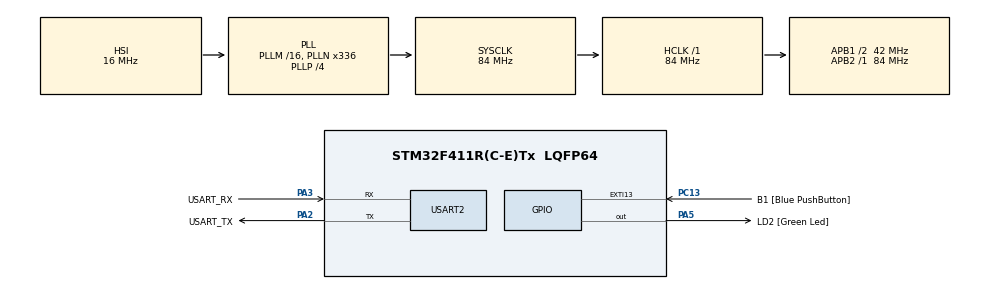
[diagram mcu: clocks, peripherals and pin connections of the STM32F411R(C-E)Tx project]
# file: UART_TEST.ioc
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Dma.Request0=USART2_RX
Dma.Request1=USART2_TX
Dma.USART2_RX.0.Direction=DMA_PERIPH_TO_MEMORY
Dma.USART2_RX.0.FIFOMode=DMA_FIFOMODE_DISABLE
Dma.USART2_RX.0.Instance=DMA1_Stream5
Dma.USART2_RX.0.MemDataAlignment=DMA_MDATAALIGN_BYTE
Dma.USART2_RX.0.MemInc=DMA_MINC_ENABLE
Dma.USART2_RX.0.Mode=DMA_CIRCULAR
Dma.USART2_RX.0.PeriphDataAlignment=DMA_PDATAALIGN_BYTE
Dma.USART2_RX.0.PeriphInc=DMA_PINC_DISABLE
Dma.USART2_RX.0.Priority=DMA_PRIORITY_LOW
Dma.USART2_TX.1.Direction=DMA_MEMORY_TO_PERIPH
Dma.USART2_TX.1.FIFOMode=DMA_FIFOMODE_DISABLE
Dma.USART2_TX.1.Instance=DMA1_Stream6
Dma.USART2_TX.1.MemDataAlignment=DMA_MDATAALIGN_BYTE
Dma.USART2_TX.1.MemInc=DMA_MINC_ENABLE
Dma.USART2_TX.1.Mode=DMA_NORMAL
Dma.USART2_TX.1.PeriphDataAlignment=DMA_PDATAALIGN_BYTE
Dma.USART2_TX.1.PeriphInc=DMA_PINC_DISABLE
Dma.USART2_TX.1.Priority=DMA_PRIORITY_LOW
Mcu.Family=STM32F4
Mcu.Name=STM32F411R(C-E)Tx
Mcu.Package=LQFP64
NVIC.DMA1_Stream5_IRQn=true\:0\:0\:false\:false\:true\:false\:true
NVIC.DMA1_Stream6_IRQn=true\:0\:0\:false\:false\:true\:false\:true
NVIC.PriorityGroup=NVIC_PRIORITYGROUP_0
NVIC.USART2_IRQn=true\:0\:0\:false\:false\:true\:true\:true
PA13.GPIO_Label=TMS
PA13.Mode=Serial_Wire
PA13.Signal=SYS_JTMS-SWDIO
PA14.GPIO_Label=TCK
PA14.Mode=Serial_Wire
PA14.Signal=SYS_JTCK-SWCLK
PA2.GPIO_Label=USART_TX
PA2.Mode=Asynchronous
PA2.Signal=USART2_TX
PA3.GPIO_Label=USART_RX
PA3.Mode=Asynchronous
PA3.Signal=USART2_RX
PA5.GPIO_Label=LD2 [Green Led]
PA5.Signal=GPIO_Output
PB3.GPIO_Label=SWO
PB3.Signal=SYS_JTDO-SWO
PC13-ANTI_TAMP.GPIO_Label=B1 [Blue PushButton]
PC13-ANTI_TAMP.GPIO_ModeDefaultEXTI=GPIO_MODE_IT_FALLING
PC13-ANTI_TAMP.Signal=GPXTI13
PC14-OSC32_IN.Mode=LSE-External-Oscillator
PC14-OSC32_IN.Signal=RCC_OSC32_IN
PC15-OSC32_OUT.Mode=LSE-External-Oscillator
PC15-OSC32_OUT.Signal=RCC_OSC32_OUT
PH0\ -\ OSC_IN.Mode=HSE-External-Clock-Source
PH0\ -\ OSC_IN.Signal=RCC_OSC_IN
PH1\ -\ OSC_OUT.Mode=HSE-External-Clock-Source
PH1\ -\ OSC_OUT.Signal=RCC_OSC_OUT
ProjectManager.HeapSize=0x200
ProjectManager.StackSize=0x400
ProjectManager.TargetToolchain=STM32CubeIDE
RCC.48MHZClocksFreq_Value=84000000
RCC.AHBFreq_Value=84000000
RCC.APB1CLKDivider=RCC_HCLK_DIV2
RCC.APB1Freq_Value=42000000
RCC.APB1TimFreq_Value=84000000
RCC.APB2Freq_Value=84000000
RCC.APB2TimFreq_Value=84000000
RCC.CortexFreq_Value=84000000
RCC.FLatency-AdvancedSettings=FLASH_LATENCY_2
RCC.HCLKFreq_Value=84000000
RCC.HSE_VALUE=8000000
RCC.HSI_VALUE=16000000
RCC.PLLN=336
RCC.PLLP=RCC_PLLP_DIV4
RCC.SYSCLKFreq_VALUE=84000000
RCC.SYSCLKSource=RCC_SYSCLKSOURCE_PLLCLK
RCC.VCOOutputFreq_Value=336000000
USART2.VirtualMode=VM_ASYNC
board=NUCLEO-F411RE

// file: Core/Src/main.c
/* USER CODE BEGIN Header */
/**
  ******************************************************************************
  * @file           : main.c
  * @brief          : Main program body
  ******************************************************************************
  * @attention
  *
  * <h2><center>&copy; Copyright (c) 2021 STMicroelectronics.
  * All rights reserved.</center></h2>
  *
  * This software component is licensed by ST under BSD 3-Clause license,
  * the "License"; You may not use this file except in compliance with the
  * License. You may obtain a copy of the License at:
  *                        opensource.org/licenses/BSD-3-Clause
  *
  ******************************************************************************
  */
/* USER CODE END Header */
#include "main.h"

/* USER CODE BEGIN Includes */
#include "stdio.h"
#include <stdlib.h>
#include "string.h"

/* USER CODE END Includes */

/* USER CODE BEGIN PD */

#define MAX_PACKET_LEN 255

/* USER CODE END PD */

UART_HandleTypeDef huart2;
DMA_HandleTypeDef hdma_usart2_rx;
DMA_HandleTypeDef hdma_usart2_tx;

/* USER CODE BEGIN PV */

typedef struct _UartStructure
{
	UART_HandleTypeDef *huart;
	uint16_t TxLen, RxLen;
	uint8_t *TxBuffer;
	uint16_t TxTail, TxHead;
	uint8_t *RxBuffer;
	uint16_t RxTail; //RXHeadUseDMA

} UARTStucrture;

UARTStucrture UART2 =
{ 0 };

typedef enum{
	state_idle,
	state_start,
	state_mode,
	state_n_station,
	state_data_frame,
	state_check_sum,
	state_wait_for_ack1_1,
	state_wait_for_ack1_2
}uart_state;

int inputchar = -1;

/* USER CODE END PV */

void SystemClock_Config(void);
static void MX_GPIO_Init(void);
static void MX_DMA_Init(void);
static void MX_USART2_UART_Init(void);
/* USER CODE BEGIN PFP */

void UARTInit(UARTStucrture *uart);

void UARTResetStart(UARTStucrture *uart);

uint32_t UARTGetRxHead(UARTStucrture *uart);

int16_t UARTReadChar(UARTStucrture *uart);

void UARTTxDumpBuffer(UARTStucrture *uart);

void UARTTxWrite(UARTStucrture *uart, uint8_t *pData, uint16_t len);

void uart_protocal(int16_t input,UARTStucrture *uart);

/* USER CODE END PFP */

int main(void)
{

  /* MCU Configuration--------------------------------------------------------*/

  /* Reset of all peripherals, Initializes the Flash interface and the Systick. */
  HAL_Init();

  /* Configure the system clock */
  SystemClock_Config();

  /* Initialize all configured peripherals */
  MX_GPIO_Init();
  MX_DMA_Init();
  MX_USART2_UART_Init();
  /* USER CODE BEGIN 2 */

  UART2.huart = &huart2;
  UART2.RxLen = 255;
  UART2.TxLen = 255;
  UARTInit(&UART2);
  UARTResetStart(&UART2);

  /* USER CODE END 2 */
  {
	  char temp[32] = {"Hello\r\n"};
	  UARTTxWrite(&UART2, (uint8_t*) temp, strlen(temp));
  }

  /* Infinite loop */
  /* USER CODE BEGIN WHILE */
  while (1)
  {
	  int16_t inputChar = UARTReadChar(&UART2);
	  if(inputChar != -1){
		  /*char temp[32];
		  sprintf(temp, "%d", inputChar);
		  UARTTxWrite(&UART2, (uint8_t*) temp, strlen(temp));*/

		  uart_protocal(inputChar, &UART2);
	  }

    /* USER CODE END WHILE */

    /* USER CODE BEGIN 3 */

	  UARTTxDumpBuffer(&UART2);

  }
  /* USER CODE END 3 */
}

void SystemClock_Config(void)
{
  RCC_OscInitTypeDef RCC_OscInitStruct = {0};
  RCC_ClkInitTypeDef RCC_ClkInitStruct = {0};

  /** Configure the main internal regulator output voltage
  */
  __HAL_RCC_PWR_CLK_ENABLE();
  __HAL_PWR_VOLTAGESCALING_CONFIG(PWR_REGULATOR_VOLTAGE_SCALE1);
  /** Initializes the RCC Oscillators according to the specified parameters
  * in the RCC_OscInitTypeDef structure.
  */
  RCC_OscInitStruct.OscillatorType = RCC_OSCILLATORTYPE_HSI;
  RCC_OscInitStruct.HSIState = RCC_HSI_ON;
  RCC_OscInitStruct.HSICalibrationValue = RCC_HSICALIBRATION_DEFAULT;
  RCC_OscInitStruct.PLL.PLLState = RCC_PLL_ON;
  RCC_OscInitStruct.PLL.PLLSource = RCC_PLLSOURCE_HSI;
  RCC_OscInitStruct.PLL.PLLM = 16;
  RCC_OscInitStruct.PLL.PLLN = 336;
  RCC_OscInitStruct.PLL.PLLP = RCC_PLLP_DIV4;
  RCC_OscInitStruct.PLL.PLLQ = 4;
  if (HAL_RCC_OscConfig(&RCC_OscInitStruct) != HAL_OK)
  {
    Error_Handler();
  }
  /** Initializes the CPU, AHB and APB buses clocks
  */
  RCC_ClkInitStruct.ClockType = RCC_CLOCKTYPE_HCLK|RCC_CLOCKTYPE_SYSCLK
                              |RCC_CLOCKTYPE_PCLK1|RCC_CLOCKTYPE_PCLK2;
  RCC_ClkInitStruct.SYSCLKSource = RCC_SYSCLKSOURCE_PLLCLK;
  RCC_ClkInitStruct.AHBCLKDivider = RCC_SYSCLK_DIV1;
  RCC_ClkInitStruct.APB1CLKDivider = RCC_HCLK_DIV2;
  RCC_ClkInitStruct.APB2CLKDivider = RCC_HCLK_DIV1;

  if (HAL_RCC_ClockConfig(&RCC_ClkInitStruct, FLASH_LATENCY_2) != HAL_OK)
  {
    Error_Handler();
  }
}

static void MX_USART2_UART_Init(void)
{

  huart2.Instance = USART2;
  huart2.Init.BaudRate = 115200;
  huart2.Init.WordLength = UART_WORDLENGTH_8B;
  huart2.Init.StopBits = UART_STOPBITS_1;
  huart2.Init.Parity = UART_PARITY_NONE;
  huart2.Init.Mode = UART_MODE_TX_RX;
  huart2.Init.HwFlowCtl = UART_HWCONTROL_NONE;
  huart2.Init.OverSampling = UART_OVERSAMPLING_16;
  if (HAL_UART_Init(&huart2) != HAL_OK)
  {
    Error_Handler();
  }

}

static void MX_DMA_Init(void)
{

  /* DMA controller clock enable */
  __HAL_RCC_DMA1_CLK_ENABLE();

  /* DMA interrupt init */
  /* DMA1_Stream5_IRQn interrupt configuration */
  HAL_NVIC_SetPriority(DMA1_Stream5_IRQn, 0, 0);
  HAL_NVIC_EnableIRQ(DMA1_Stream5_IRQn);
  /* DMA1_Stream6_IRQn interrupt configuration */
  HAL_NVIC_SetPriority(DMA1_Stream6_IRQn, 0, 0);
  HAL_NVIC_EnableIRQ(DMA1_Stream6_IRQn);

}

static void MX_GPIO_Init(void)
{
  GPIO_InitTypeDef GPIO_InitStruct = {0};

  /* GPIO Ports Clock Enable */
  __HAL_RCC_GPIOC_CLK_ENABLE();
  __HAL_RCC_GPIOH_CLK_ENABLE();
  __HAL_RCC_GPIOA_CLK_ENABLE();
  __HAL_RCC_GPIOB_CLK_ENABLE();

  /*Configure GPIO pin Output Level */
  HAL_GPIO_WritePin(LD2_GPIO_Port, LD2_Pin, GPIO_PIN_RESET);

  /*Configure GPIO pin : B1_Pin */
  GPIO_InitStruct.Pin = B1_Pin;
  GPIO_InitStruct.Mode = GPIO_MODE_IT_FALLING;
  GPIO_InitStruct.Pull = GPIO_NOPULL;
  HAL_GPIO_Init(B1_GPIO_Port, &GPIO_InitStruct);

  /*Configure GPIO pin : LD2_Pin */
  GPIO_InitStruct.Pin = LD2_Pin;
  GPIO_InitStruct.Mode = GPIO_MODE_OUTPUT_PP;
  GPIO_InitStruct.Pull = GPIO_NOPULL;
  GPIO_InitStruct.Speed = GPIO_SPEED_FREQ_LOW;
  HAL_GPIO_Init(LD2_GPIO_Port, &GPIO_InitStruct);

}

/* USER CODE BEGIN 4 */

void UARTInit(UARTStucrture *uart)
{
	//dynamic memory allocate
	uart->RxBuffer = (uint8_t*) calloc(sizeof(uint8_t), UART2.RxLen);
	uart->TxBuffer = (uint8_t*) calloc(sizeof(uint8_t), UART2.TxLen);
	uart->RxTail = 0;
	uart->TxTail = 0;
	uart->TxHead = 0;

}

void UARTResetStart(UARTStucrture *uart)
{
	HAL_UART_Receive_DMA(uart->huart, uart->RxBuffer, uart->RxLen);
}
uint32_t UARTGetRxHead(UARTStucrture *uart)
{
	return uart->RxLen - __HAL_DMA_GET_COUNTER(uart->huart->hdmarx);
}
int16_t UARTReadChar(UARTStucrture *uart)
{
	int16_t Result = -1; // -1 Mean no new data

	//check Buffer Position
	if (uart->RxTail != UARTGetRxHead(uart))
	{
		//get data from buffer
		Result = uart->RxBuffer[uart->RxTail];
		uart->RxTail = (uart->RxTail + 1) % uart->RxLen;

	}
	return Result;

}
void UARTTxDumpBuffer(UARTStucrture *uart)
{
	static uint8_t MultiProcessBlocker = 0;

	if (uart->huart->gState == HAL_UART_STATE_READY && !MultiProcessBlocker)
	{
		MultiProcessBlocker = 1;

		if (uart->TxHead != uart->TxTail)
		{
			//find len of data in buffer (Circular buffer but do in one way)
			uint16_t sentingLen =
					uart->TxHead > uart->TxTail ?
							uart->TxHead - uart->TxTail :
							uart->TxLen - uart->TxTail;

			//sent data via DMA
			HAL_UART_Transmit_DMA(uart->huart, &(uart->TxBuffer[uart->TxTail]),
					sentingLen);
			//move tail to new position
			uart->TxTail = (uart->TxTail + sentingLen) % uart->TxLen;

		}
		MultiProcessBlocker = 0;
	}
}
void UARTTxWrite(UARTStucrture *uart, uint8_t *pData, uint16_t len)
{
	//check data len is more than buffur?
	uint16_t lenAddBuffer = (len <= uart->TxLen) ? len : uart->TxLen;
	// find number of data before end of ring buffer
	uint16_t numberOfdataCanCopy =
			lenAddBuffer <= uart->TxLen - uart->TxHead ?
					lenAddBuffer : uart->TxLen - uart->TxHead;
	//copy data to the buffer
	memcpy(&(uart->TxBuffer[uart->TxHead]), pData, numberOfdataCanCopy);

	//Move Head to new position

	uart->TxHead = (uart->TxHead + lenAddBuffer) % uart->TxLen;
	//Check that we copy all data That We can?
	if (lenAddBuffer != numberOfdataCanCopy)
	{
		memcpy(uart->TxBuffer, &(pData[numberOfdataCanCopy]),
				lenAddBuffer - numberOfdataCanCopy);
	}
	UARTTxDumpBuffer(uart);

}

uint8_t mcu_connect = 0,goals[512] = {0},go_now = 0,current_station = 0,enable_gripper = 0,enable_sethome = 0;
uint16_t n_goal = 0;
double max_velocity = 0,set_position = 0,current_position = 1.5634;

void uart_protocal(int16_t input,UARTStucrture *uart){

	static uart_state state = state_idle;
	static uint8_t sum = 0;
	static uint8_t datas[256] = {0},data_ind = 0,n_data = 0;
	static uint8_t mode = 0;

	switch (state) {
		case state_idle:
			sum = data_ind = 0;
			if(input >= 0b10010001 && input <= 0b10011110){
				mode = input & 0b1111;
				sum += input;
				switch (mode){
					case 1:n_data = 2;state = state_data_frame;break;
					case 2:state = state_check_sum;break;
					case 3:state = state_check_sum;break;
					case 4:n_data = 1;state = state_data_frame;break;
					case 5:n_data = 2;state = state_data_frame;break;
					case 6:n_data = 1;state = state_data_frame;break;
					case 7:state = state_n_station;break;
					case 8:state = state_check_sum;break;
					case 9:state = state_check_sum;break;
					case 10:state = state_check_sum;break;
					case 11:state = state_check_sum;break;
					case 12:state = state_check_sum;break;
					case 13:state = state_check_sum;break;
					case 14:state = state_check_sum;break;
				}
			}
			else{
				sum = n_data = data_ind = mode = 0;
			}
			break;
		case state_n_station:
			n_data = (input+1)/2 & 0xFF;
			sum+= input;
			state = state_data_frame;
			break;
		case state_data_frame:
			if(data_ind < n_data){
				datas[data_ind] = input;
				sum += datas[data_ind++];
			}
			if(data_ind == n_data){
				state = state_check_sum;
			}

		case state_check_sum:
			if(input == (uint8_t) ~sum){
				switch(mode){
					case 1:{
						uint8_t temp[] = { (0b1001<<4) | mode , datas[0] , datas[1] , (uint8_t)input};
						UARTTxWrite(&UART2, temp, 4);
						state = state_idle;
						break;
					}
					case 2:{
						mcu_connect = 1;
						uint8_t temp[] = {0x58,0b01110101};
						UARTTxWrite(&UART2, temp, 2);
						state = state_idle;
						break;
					}
					case 3:{
						mcu_connect = 0;
						uint8_t temp[] = {0x58,0b01110101};
						UARTTxWrite(&UART2, temp, 2);
						state = state_idle;
						break;
					}
					case 4:{
						max_velocity = datas[0];
						uint8_t temp[] = {0x58,0b01110101};
						UARTTxWrite(&UART2, temp, 2);
						state = state_idle;
						break;
					}
					case 5:{
						set_position = (double)((uint16_t)(datas[0]<<8) + datas[1])*1e-4;
						uint8_t temp[] = {0x58,0b01110101};
						UARTTxWrite(&UART2, temp, 2);
						state = state_idle;
						break;
					}
					case 6:{
						goals[0] = datas[0];
						n_goal = 1;
						uint8_t temp[] = {0x58,0b01110101};
						UARTTxWrite(&UART2, temp, 2);
						state = state_idle;
						break;
					}
					case 7:{
						n_goal = 0;
						for(int i = 0;i < n_data;i++){
							goals[2*i] = datas[i] & 0b1111;
							goals[2*i+1] = datas[i]>>4;
							n_goal += 2;
						}
						if(goals[n_goal-1] == 0){
							n_goal--;
						}
						uint8_t temp[] = {0x58,0b01110101};
						UARTTxWrite(&UART2, temp, 2);
						state = state_idle;
						break;
					}
					case 8:{
						go_now = 1;
						uint8_t temp[] = {0x58,0b01110101};
						UARTTxWrite(&UART2, temp, 2);
						state = state_idle;
						break;
					}
					case 9:{
						uint8_t temp[] = {0x58,0b01110101};
						UARTTxWrite(&UART2, temp, 2);
						uint8_t temp2[] = {0b10011001,current_station,~(0b10011001+current_station) & 0xFF};
						UARTTxWrite(&UART2, temp2, 3);
						state = state_wait_for_ack1_1;
						break;
					}
					case 10:{
						uint8_t temp[] = {0x58,0b01110101};
						UARTTxWrite(&UART2, temp, 2);
						uint16_t pos = (uint16_t)(current_position*1e4);
						uint8_t temp2[] = {0b10011010,pos >> 8,pos & 0xFF, ~(0b10011001+(pos >> 8)+ (pos & 0xFF)) & 0xFF};
						UARTTxWrite(&UART2, temp2, 4);
						state = state_wait_for_ack1_1;
						break;
					}
					case 11:{
						uint8_t temp[] = {0x58,0b01110101};
						UARTTxWrite(&UART2, temp, 2);
						uint8_t temp2[] = {0b10011011,(uint8_t)max_velocity,~(0b10011011+(uint8_t)max_velocity) & 0xFF};
						UARTTxWrite(&UART2, temp2, 3);
						state = state_wait_for_ack1_1;
						break;
					}
					case 12:{
						enable_gripper = 1;
						uint8_t temp[] = {0x58,0b01110101};
						UARTTxWrite(&UART2, temp, 2);
						state = state_idle;
						break;
					}
					case 13:{
						enable_gripper = 0;
						uint8_t temp[] = {0x58,0b01110101};
						UARTTxWrite(&UART2, temp, 2);
						state = state_idle;
						break;
					}
					case 14:{
						enable_sethome = 1;
						uint8_t temp[] = {0x58,0b01110101};
						UARTTxWrite(&UART2, temp, 2);
						state = state_idle;
						break;
					}
				}
			}
			else{
				//error check sum
			}
			break;
		case state_wait_for_ack1_1:{if(input == 0x58){state = state_wait_for_ack1_2;}break;}
		case state_wait_for_ack1_2:{if(input == 0b01110101){state = state_idle;}break;}
	}

}

/* USER CODE END 4 */

void Error_Handler(void)
{
  __disable_irq();
  while (1)
  {
  }
}

/************************ (C) COPYRIGHT STMicroelectronics *****END OF FILE****/
